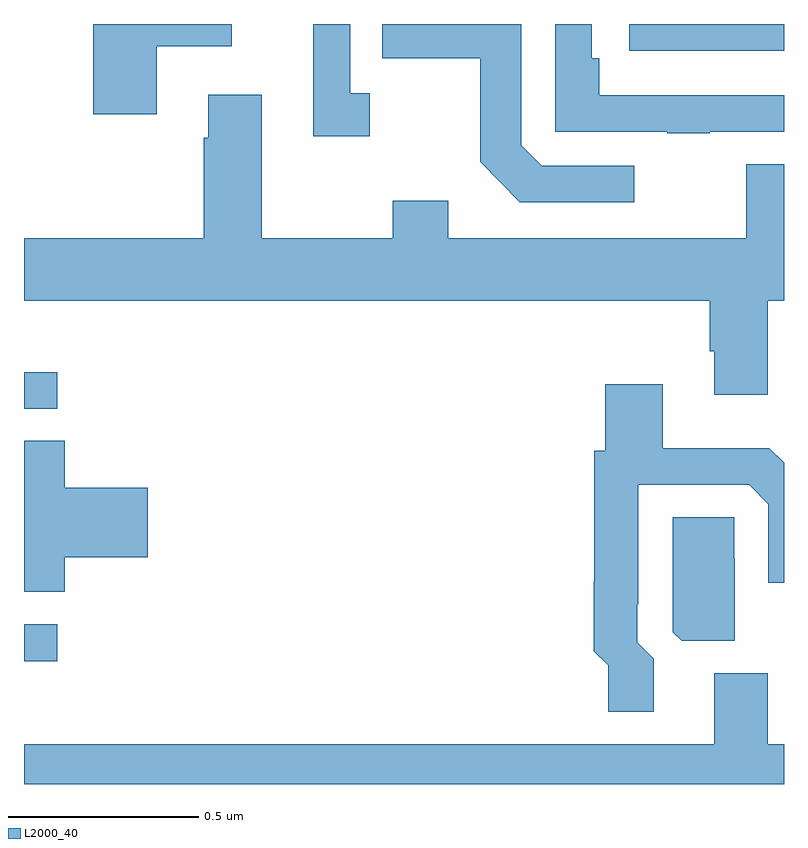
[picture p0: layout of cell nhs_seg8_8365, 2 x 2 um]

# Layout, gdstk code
import gdstk
lib = gdstk.Library(unit=1e-6, precision=1e-09)
def R(c, l, rs):  # rectangles x0, y0, x1, y1
    for r in rs: c.add(gdstk.rectangle(r[:2], r[2:], *l))
def P(c, l, *ps):  # polygons
    for p in ps: c.add(gdstk.Polygon(p, *l))
L2000_40 = (2000, 40)

nhs_seg8_8365 = lib.new_cell('nhs_seg8_8365')
R(nhs_seg8_8365, L2000_40, [(222,1110.223,222.088,1110.321), (222,1110.888,222.088,1110.984), (223.593,1111.83,224,1111.9)])
P(nhs_seg8_8365, L2000_40, [(223.805,1111.617),(224,1111.617),(224,1111.713),(223.514,1111.713),(223.514,1111.81),(223.494,1111.81),(223.494,1111.9),(223.398,1111.9),(223.398,1111.617),(223.693,1111.617),(223.693,1111.612),(223.805,1111.612)],
  [(222.349,1111.841),(222.547,1111.841),(222.547,1111.9),(222.182,1111.9),(222.182,1111.662),(222.349,1111.662)],
  [(222.91,1111.718),(222.858,1111.718),(222.858,1111.9),(222.761,1111.9),(222.761,1111.605),(222.91,1111.605)],
  [(223.606,1111.527),(223.362,1111.527),(223.308,1111.581),(223.308,1111.9),(222.943,1111.9),(222.943,1111.81),(223.2,1111.81),(223.2,1111.537),(223.305,1111.431),(223.606,1111.431)],
  [(223.957,1111.172),(224,1111.172),(224,1111.531),(223.901,1111.531),(223.901,1111.336),(223.117,1111.336),(223.117,1111.435),(222.97,1111.435),(222.97,1111.336),(222.625,1111.336),(222.625,1111.714),(222.485,1111.714),(222.485,1111.601),(222.473,1111.601),(222.473,1111.336),(222,1111.336),(222,1111.172),(223.805,1111.172),(223.805,1111.039),(223.817,1111.039),(223.817,1110.924),(223.957,1110.924)],
  [(223.657,1110.23),(223.614,1110.273),(223.614,1110.373),(223.617,1110.373),(223.617,1110.687),(223.908,1110.687),(223.959,1110.636),(223.959,1110.429),(224,1110.429),(224,1110.745),(223.961,1110.784),(223.681,1110.784),(223.681,1110.952),(223.529,1110.952),(223.529,1110.777),(223.501,1110.777),(223.501,1110.434),(223.499,1110.434),(223.499,1110.25),(223.537,1110.212),(223.537,1110.09),(223.657,1110.09)],
  [(222.107,1110.497),(222.325,1110.497),(222.325,1110.68),(222.107,1110.68),(222.107,1110.803),(222,1110.803),(222,1110.406),(222.107,1110.406)],
  [(223.87,1110.491),(223.869,1110.491),(223.869,1110.602),(223.707,1110.602),(223.707,1110.3),(223.731,1110.277),(223.87,1110.277)],
  [(224,1110.004),(223.957,1110.004),(223.957,1110.192),(223.817,1110.192),(223.817,1110.004),(222,1110.004),(222,1109.9),(224,1109.9)])

lib.write_gds('nhs_seg8_8365.gds')
